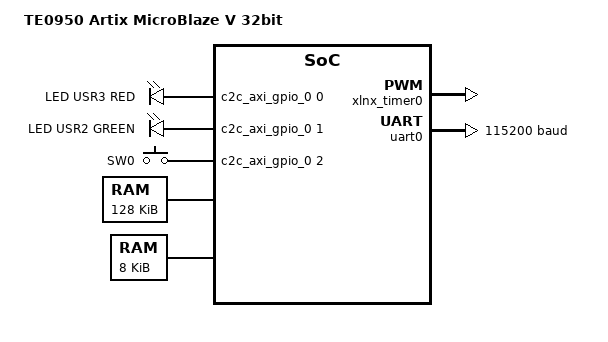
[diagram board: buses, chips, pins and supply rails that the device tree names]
// SPDX-License-Identifier: GPL-2.0
/*
 * dts file for AMD MicroBlaze V
 *
 * (C) Copyright 2024, Owusu Consulting
 *
 * Eric Owusu <owusu.eric@protonmail.com>
 */

/dts-v1/;
#include <zephyr/dt-bindings/gpio/gpio.h>
#include <zephyr/dt-bindings/pwm/pwm.h>
#include <mem.h>
#include <zephyr/dt-bindings/input/input-event-codes.h>

/ {
	#address-cells = <1>;
	#size-cells = <1>;
	model = "TE0950 Artix MicroBlaze V 32bit";
	compatible = "qemu,mbv", "amd,mbv";

	cpus: cpus {
		#address-cells = <1>;
		#size-cells = <0>;
		timebase-frequency = <100000000>;
		cpu_0: cpu@0 {
			compatible = "amd,mbv32", "riscv";
			device_type = "cpu";
			reg = <0>;
			riscv,isa = "rv32imafdc";
			i-cache-size = <32768>;
			d-cache-size = <32768>;
			clock-frequency = <100000000>;
			cpu0_intc: interrupt-controller {
				compatible = "riscv,cpu-intc";
				interrupt-controller;
				#interrupt-cells = <1>;
			};
		};
	};

	aliases {
		serial0 = &uart0;
		led0 = &led_usr3_red;
		led1 = &led_usr2_green;
		sw0 = &sw0;
		watchdog0 = &watchdog0;
		pwmfan0 = &pwm_fan0;
	};

	chosen {
		bootargs = "earlycon=sbi console=ttyUL0,115200";
		stdout-path = "serial0:115200n8";
		zephyr,console = &uart0;
		zephyr,shell-uart = &uart0;
		zephyr,sram = &lmb0;
	};

	leds {
		compatible = "gpio-leds";
		led_usr3_red: led_usr3_red {
			gpios = <&c2c_axi_gpio_0 0 GPIO_ACTIVE_HIGH>;
			label = "LED USR3 RED";
		};
		led_usr2_green: led_usr2_green {
			gpios = <&c2c_axi_gpio_0 1 GPIO_ACTIVE_HIGH>;
			label = "LED USR2 GREEN";
		};
	};

	gpio_keys {
		compatible = "gpio-keys";
		sw0: sw0 {
			gpios = <&c2c_axi_gpio_0 2 GPIO_ACTIVE_HIGH>;
			label = "SW0";
			zephyr,code = <INPUT_KEY_0>;
		};
	};

	lmb0: memory@0 {
		compatible = "mmio-sram";
		reg = <0 DT_SIZE_K(128)>;
	};

	bram0: memory@a8090000 {
		compatible = "mmio-sram";
		reg = <0xa8090000 DT_SIZE_K(8)>;
	};

	clk100: clock {
		compatible = "fixed-clock";
		#clock-cells = <0>;
		clock-frequency = <100000000>;
	};

	axi: soc {
		#address-cells = <1>;
		#size-cells = <1>;
		compatible = "simple-bus";
		ranges;
		bootph-all;

		axi_intc: interrupt-controller@41200000 {
			compatible = "xlnx,xps-intc-1.00.a";
			reg = <0x41200000 0x1000>;
			interrupt-controller;
			interrupt-parent = <&cpu0_intc>;
			#interrupt-cells = <2>;
			interrupts-extended = <&cpu0_intc 11>;
			xlnx,kind-of-intr = <0x1a>;
			xlnx,num-intr-inputs = <11>;
		};

		xlnx_timer0: timer@41c00000 {
			compatible = "amd,xps-timer-1.00.a";
			reg = <0x41c00000 0x1000>;
			interrupt-parent = <&axi_intc>;
			interrupts = <0 2>;
			xlnx,one-timer-only = <0>;
			clocks = <&clk100>;
		};

		watchdog0: watchdog@41a00000{
			compatible = "xlnx,xps-timebase-wdt-1.00.a";
			reg = <0x41a00000 0x10000>;
			clocks = <&clk100>;
			xlnx,wdt-interval = <31>;
			xlnx,wdt-enable-once = <1>;
		};

		uart0: serial@40600000 {
			compatible = "xlnx,xps-uartlite-1.00.a";
			reg = <0x40600000 0x1000>;
			interrupt-parent = <&axi_intc>;
			interrupts = <1 2>;
			clocks = <&clk100>;
			current-speed = <115200>;
		};

		c2c_axi_gpio_0: gpio@a8080000 {
			compatible = "xlnx,xps-gpio-1.00.a";
			reg = <0xa8080000 0x10000>;
			gpio-controller;
			#gpio-cells = <2>;

			xlnx,all-inputs = <0x0>;
			xlnx,all-outputs = <0x0>;
			xlnx,dout-default = <0x0>;
			xlnx,gpio-width = <0x3>;
			xlnx,is-dual = <0x0>;
			xlnx,tri-default = <0xffffffff>;
    	};

		pwm_fan0: pwm@41c10000 {
			compatible = "xlnx,xps-timer-1.00.a-pwm";
			reg = <0x41c10000 0x10000>;
			interrupt-parent = <&axi_intc>;
			interrupts = <3 2>;
			clock-frequency = <100000000>;
			xlnx,count-width = <0x20>;
			xlnx,gen0-assert = <0x1>;
			xlnx,gen1-assert = <0x1>;
			xlnx,one-timer-only = <0x0>;
			xlnx,trig0-assert = <0x1>;
			xlnx,trig1-assert = <0x0>;
			#pwm-cells = <3>;
		};

	};
};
